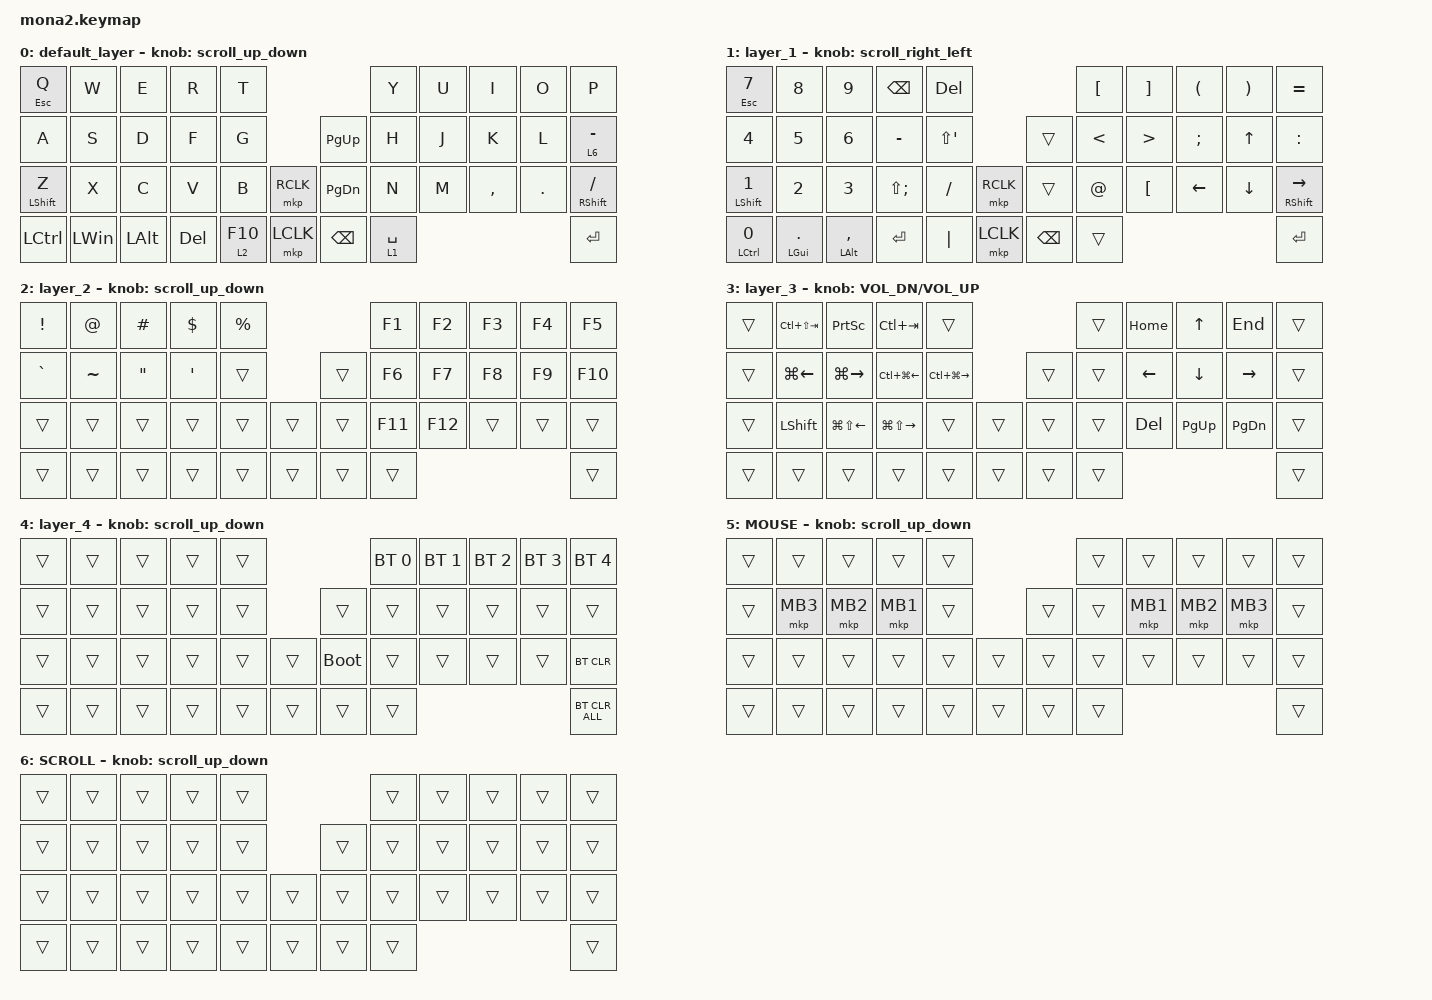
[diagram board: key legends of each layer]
#include <input/processors.dtsi>
#include <dt-bindings/zmk/input_transform.h>
#include <zephyr/dt-bindings/input/input-event-codes.h>
#include <behaviors.dtsi>
#include <dt-bindings/zmk/bt.h>
#include <dt-bindings/zmk/keys.h>
#include <dt-bindings/zmk/pointing.h>

#define ZMK_POINTING_DEFAULT_SCRL_VAL 100
#define MOUSE 5
#define SCROLL 6

&mt {
    flavor = "tap-preferred";
    tapping-term-ms = <280>;
    quick-tap-ms = <0>;
};

&lt {
    quick-tap-ms = <300>;
    flavor = "balanced";
};

/ {
    combos {
        compatible = "zmk,combos";

        layer4_ESC {
            bindings = <&lt 4 ESC>;
            key-positions = <39 38>;
        };

        tab {
            bindings = <&kp TAB>;
            key-positions = <11 10>;
        };

        input_en {
            bindings = <&kp LANG2>;
            key-positions = <13 14>;
            timeout-ms = <40>;
        };

        input_ja {
            bindings = <&kp LANGUAGE_1>;
            key-positions = <16 17>;
            timeout-ms = <40>;
        };
    };

    macros {
        to_layer_0: to_layer_0 {
            compatible = "zmk,behavior-macro-one-param";
            #binding-cells = <1>;
            bindings = <&to 0 &macro_param_1to1 &kp MACRO_PLACEHOLDER>;
            label = "TO_LAYER_0";
        };
    };

    behaviors {
        lt_to_layer_0: lt_to_layer_0 {
            compatible = "zmk,behavior-hold-tap";
            label = "LAYER_TAP_TO_0";
            bindings = <&mo>, <&to_layer_0>;

            #binding-cells = <2>;
            tapping-term-ms = <200>;
        };

        scroll_up_down: mouse_wheel_up_down {
            compatible = "zmk,behavior-sensor-rotate";
            #sensor-binding-cells = <0>;
            bindings = <&msc SCRL_DOWN>, <&msc SCRL_UP>;

            tap-ms = <20>;
        };

        scroll_right_left: mouse_wheel_right_left {
            compatible = "zmk,behavior-sensor-rotate";
            #sensor-binding-cells = <0>;
            bindings = <&msc SCRL_LEFT>, <&msc SCRL_RIGHT>;

            tap-ms = <20>;
        };
    };

    keymap {
        compatible = "zmk,keymap";

        default_layer {
            bindings = <
&mt ESC Q         &kp W         &kp E         &kp R    &kp T                                  &kp Y        &kp U  &kp I      &kp O    &kp P
&kp A             &kp S         &kp D         &kp F    &kp G                   &kp PAGE_UP    &kp H        &kp J  &kp K      &kp L    &lt 6 MINUS
&mt LEFT_SHIFT Z  &kp X         &kp C         &kp V    &kp B      &mkp RCLK    &kp PAGE_DOWN  &kp N        &kp M  &kp COMMA  &kp DOT  &mt RIGHT_SHIFT SLASH
&kp LCTRL         &kp LEFT_WIN  &kp LEFT_ALT  &kp DEL  &lt 2 F10  &mkp LCLK    &kp BACKSPACE  &lt 1 SPACE                             &kp ENTER
            >;

            sensor-bindings = <&scroll_up_down>;
        };

        layer_1 {
            bindings = <
&mt ESC NUMBER_7         &kp NUMBER_8         &kp NUMBER_9        &kp BACKSPACE  &kp DEL                                &kp LEFT_BRACKET  &kp RIGHT_BRACKET  &kp LEFT_PARENTHESIS  &kp RIGHT_PARENTHESIS  &kp EQUAL
&kp NUMBER_4             &kp NUMBER_5         &kp NUMBER_6        &kp MINUS      &kp LS(SINGLE_QUOTE)               &trans         &kp LESS_THAN     &kp GREATER_THAN   &kp SEMICOLON         &kp UP                 &kp COLON
&mt LEFT_SHIFT NUMBER_1  &kp NUMBER_2         &kp NUMBER_3        &kp LS(SEMICOLON)       &kp SLASH  &mkp RCLK    &trans         &kp AT_SIGN       &kp LBKT           &kp LEFT              &kp DOWN               &mt RIGHT_SHIFT RIGHT
&mt LCTRL NUMBER_0       &mt LEFT_GUI PERIOD  &mt LEFT_ALT COMMA  &kp ENTER      &kp PIPE   &mkp LCLK    &kp BACKSPACE  &trans                                                                            &kp ENTER
            >;

            sensor-bindings = <&scroll_right_left>;
        };

        layer_2 {
            bindings = <
&kp EXCLAMATION  &kp AT_SIGN  &kp POUND          &kp DOLLAR  &kp PERCENT                    &kp F1   &kp F2   &kp F3  &kp F4  &kp F5
&kp GRAVE        &kp TILDE    &kp DOUBLE_QUOTES  &kp SQT     &trans                 &trans  &kp F6   &kp F7   &kp F8  &kp F9  &kp F10
&trans           &trans       &trans             &trans      &trans       &trans    &trans  &kp F11  &kp F12  &trans  &trans  &trans
&trans           &trans       &trans             &trans      &trans       &trans    &trans  &trans                            &trans
            >;

            sensor-bindings = <&scroll_up_down>;
        };

        layer_3 {
            bindings = <
&trans  &kp LC(LS(TAB))     &kp PRINTSCREEN         &kp LC(TAB)              &trans                                     &trans  &kp HOME        &kp UP_ARROW    &kp END          &trans
&trans  &kp LG(LEFT_ARROW)  &kp LG(RIGHT_ARROW)     &kp LC(LG(LEFT_ARROW))   &kp LC(LG(RIGHT_ARROW))            &trans  &trans  &kp LEFT_ARROW  &kp DOWN_ARROW  &kp RIGHT_ARROW  &trans
&trans  &kp LEFT_SHIFT      &kp LG(LS(LEFT_ARROW))  &kp LG(LS(RIGHT_ARROW))  &trans                   &trans    &trans  &trans  &kp DELETE      &kp PAGE_UP     &kp PAGE_DOWN    &trans
&trans  &trans              &trans                  &trans                   &trans                   &trans    &trans  &trans                                                   &trans
            >;

            sensor-bindings = <&inc_dec_kp C_VOL_DN C_VOL_UP>;
        };

        layer_4 {
            bindings = <
&trans  &trans  &trans  &trans  &trans                         &bt BT_SEL 0  &bt BT_SEL 1  &bt BT_SEL 2  &bt BT_SEL 3  &bt BT_SEL 4
&trans  &trans  &trans  &trans  &trans            &trans       &trans        &trans        &trans        &trans        &trans
&trans  &trans  &trans  &trans  &trans  &trans    &bootloader  &trans        &trans        &trans        &trans        &bt BT_CLR
&trans  &trans  &trans  &trans  &trans  &trans    &trans       &trans                                                  &bt BT_CLR_ALL
            >;

            sensor-bindings = <&scroll_up_down>;
        };

        MOUSE {
            bindings = <
&trans  &trans    &trans    &trans    &trans                    &trans  &trans    &trans    &trans    &trans
&trans  &mkp MB3  &mkp MB2  &mkp MB1  &trans            &trans  &trans  &mkp MB1  &mkp MB2  &mkp MB3  &trans
&trans  &trans    &trans    &trans    &trans  &trans    &trans  &trans  &trans    &trans    &trans    &trans
&trans  &trans    &trans    &trans    &trans  &trans    &trans  &trans                                &trans
            >;

            sensor-bindings = <&scroll_up_down>;
        };

        SCROLL {
            bindings = <
&trans  &trans  &trans  &trans  &trans                    &trans  &trans  &trans  &trans  &trans
&trans  &trans  &trans  &trans  &trans            &trans  &trans  &trans  &trans  &trans  &trans
&trans  &trans  &trans  &trans  &trans  &trans    &trans  &trans  &trans  &trans  &trans  &trans
&trans  &trans  &trans  &trans  &trans  &trans    &trans  &trans                          &trans
            >;

            sensor-bindings = <&scroll_up_down>;
        };
    };
};
